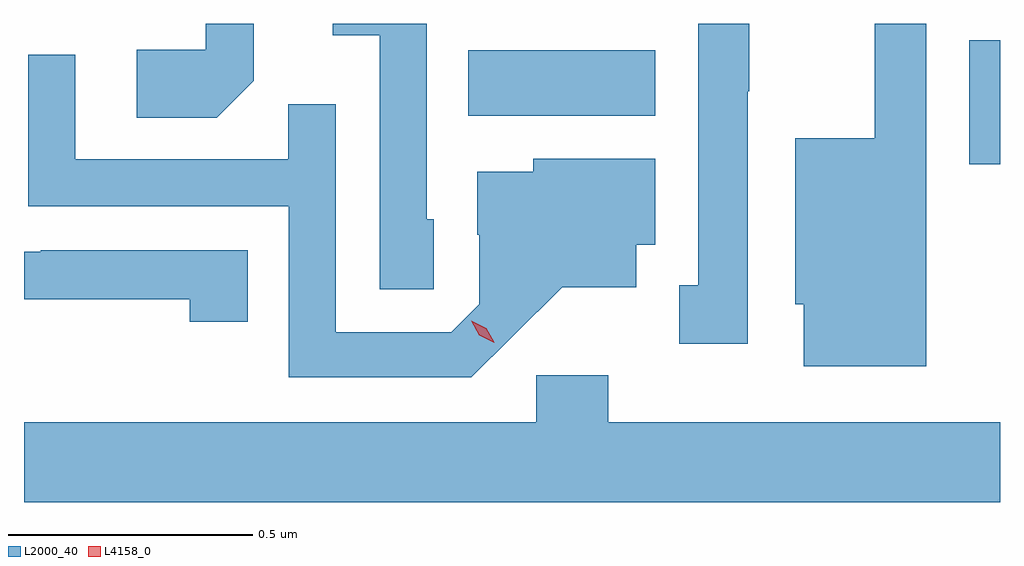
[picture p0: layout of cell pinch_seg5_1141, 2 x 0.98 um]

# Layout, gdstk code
import gdstk
lib = gdstk.Library(unit=1e-6, precision=1e-09)
def R(c, l, rs):  # rectangles x0, y0, x1, y1
    for r in rs: c.add(gdstk.rectangle(r[:2], r[2:], *l))
def P(c, l, *ps):  # polygons
    for p in ps: c.add(gdstk.Polygon(p, *l))
L2000_40 = (2000, 40)
L4158_0 = (4158, 0)

pinch_seg5_1141 = lib.new_cell('pinch_seg5_1141')
R(pinch_seg5_1141, L2000_40, [(763.991,840.137,764.054,840.391), (762.964,840.236,763.348,840.37)])
P(pinch_seg5_1141, L2000_40, [(762.894,840.024),(762.879,840.024),(762.879,840.425),(762.687,840.425),(762.687,840.401),(762.783,840.401),(762.783,839.881),(762.894,839.881)],
  [(762.525,840.308),(762.525,840.425),(762.426,840.425),(762.426,840.372),(762.285,840.372),(762.285,840.232),(762.449,840.232)],
  [(763.537,840.286),(763.54,840.286),(763.54,840.425),(763.436,840.425),(763.436,839.889),(763.397,839.889),(763.397,839.769),(763.537,839.769)],
  [(763.903,840.425),(763.797,840.425),(763.797,840.19),(763.634,840.19),(763.634,839.85),(763.652,839.85),(763.652,839.723),(763.903,839.723)],
  [(763.054,839.783),(763.157,839.885),(763.309,839.885),(763.309,839.972),(763.348,839.972),(763.348,840.148),(763.098,840.148),(763.098,840.121),(762.983,840.121),(762.983,839.992),(762.987,839.992),(762.987,839.85),(762.93,839.793),(762.693,839.793),(762.693,840.26),(762.595,840.26),(762.595,840.147),(762.159,840.147),(762.159,840.361),(762.063,840.361),(762.063,840.051),(762.597,840.051),(762.597,839.7),(762.97,839.7)],
  [(762.512,839.961),(762.088,839.961),(762.088,839.958),(762.054,839.958),(762.054,839.86),(762.394,839.86),(762.394,839.814),(762.512,839.814)],
  [(764.054,839.608),(763.251,839.608),(763.251,839.704),(763.104,839.704),(763.104,839.608),(762.054,839.608),(762.054,839.444),(764.054,839.444)])
P(pinch_seg5_1141, L4158_0, [(763.018,839.771),(762.987,839.786),(762.97,839.816),(762.97,839.816),(762.97,839.816),(763.001,839.801),(763.018,839.772),(763.018,839.771)])

lib.write_gds('pinch_seg5_1141.gds')
